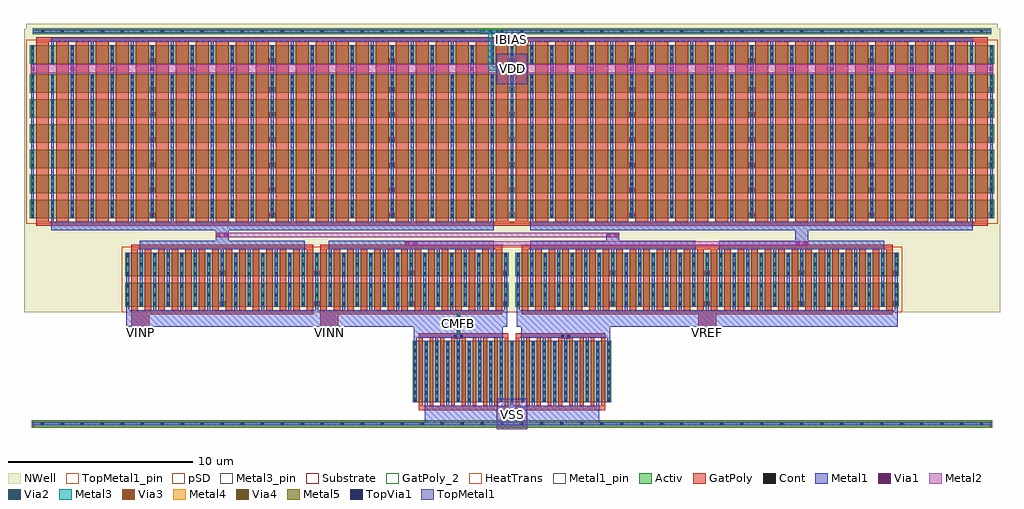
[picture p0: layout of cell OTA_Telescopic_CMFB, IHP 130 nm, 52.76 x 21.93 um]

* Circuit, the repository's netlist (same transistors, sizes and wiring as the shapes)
* Extracted by KLayout with SG13G2 LVS runset on : 01/03/2026 20:40

.SUBCKT OTA_Telescopic_CMFB VSS CMFB VINP VINN VREF VDD IBIAS
M$1 CMFB CMFB VSS VSS sg13_lv_nmos L=0.2u W=29.97u AS=6.1938p AD=5.6943p
+ PS=37.02u PD=33.39u
M$10 VSS \$3 \$3 VSS sg13_lv_nmos L=0.2u W=29.97u AS=5.6943p AD=6.1938p
+ PS=33.39u PD=37.02u
M$19 \$3 VREF \$34 VDD sg13_lv_pmos L=0.35u W=35.98u AS=7.2217p AD=6.8362p
+ PS=49.79u PD=46.62u
M$33 \$3 VREF \$56 VDD sg13_lv_pmos L=0.35u W=35.98u AS=6.8362p AD=7.2217p
+ PS=46.62u PD=49.79u
M$47 CMFB VINP \$34 VDD sg13_lv_pmos L=0.35u W=35.98u AS=7.2217p AD=6.8362p
+ PS=49.79u PD=46.62u
M$61 CMFB VINN \$56 VDD sg13_lv_pmos L=0.35u W=35.98u AS=6.8362p AD=7.2217p
+ PS=46.62u PD=49.79u
M$75 VDD IBIAS \$34 VDD sg13_lv_pmos L=0.7u W=144u AS=28.26p AD=27.36p
+ PS=206.52u PD=198.72u
M$99 VDD IBIAS \$56 VDD sg13_lv_pmos L=0.7u W=144u AS=27.36p AD=28.26p
+ PS=198.72u PD=206.52u
M$419 VDD IBIAS IBIAS VDD sg13_lv_pmos L=0.7u W=48u AS=9.27p AD=9.27p PS=67.54u
+ PD=67.54u
.ENDS OTA_Telescopic_CMFB

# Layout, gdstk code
import gdstk
lib = gdstk.Library(unit=1e-6, precision=1e-09)
def R(c, l, rs):  # rectangles x0, y0, x1, y1
    for r in rs: c.add(gdstk.rectangle(r[:2], r[2:], *l))
def A(c, l, x, y, w, h, nx, ny, dx, dy):  # array of equal rectangles
    R(c, l, [(x+i*dx, y+j*dy, x+i*dx+w, y+j*dy+h) for i in range(nx) for j in range(ny)])
Activ = (1, 0)
GatPoly = (5, 0)
GatPoly_2 = (5, 2)
Cont = (6, 0)
Metal1 = (8, 0)
Metal1_pin = (8, 2)
Metal2 = (10, 0)
pSD = (14, 0)
Via1 = (19, 0)
Via2 = (29, 0)
Metal3 = (30, 0)
Metal3_pin = (30, 2)
NWell = (31, 0)
Substrate = (40, 0)
Via3 = (49, 0)
Metal4 = (50, 0)
HeatTrans = (51, 0)
Via4 = (66, 0)
Metal5 = (67, 0)
TopVia1 = (125, 0)
TopMetal1 = (126, 0)
TopMetal1_pin = (126, 2)

pmos_1 = lib.new_cell('pmos$1')
A(pmos_1, Activ, 0, 0, 0.3, 0.3, 8, 1, 0.73, 0)
R(pmos_1, Activ, [(0,0,5.41,1.285)])
A(pmos_1, GatPoly, 0.34, -0.18, 0.35, 1.645, 7, 1, 0.73, 0)
R(pmos_1, GatPoly, [(0.34,-0.18,0.69,1.465)])
A(pmos_1, Cont, 0.07, 0.07, 0.16, 0.16, 8, 2, 0.73, 0.49)
A(pmos_1, Cont, 0.07, 1.055, 0.16, 0.16, 8, 1, 0.73, 0)
A(pmos_1, Metal1, 0.8, 0, 0.16, 1.285, 7, 1, 0.73, 0)
R(pmos_1, Metal1, [(0.07,0,0.23,1.285), (0.07,0,0.23,1.285), (0.8,0,0.96,1.285)])
R(pmos_1, pSD, [(-0.18,-0.3,5.59,1.585)])
R(pmos_1, NWell, [(-0.31,-0.31,5.72,1.595)])
R(pmos_1, Substrate, [(5.11,0,5.41,0.3)])
A(pmos_1, HeatTrans, 0.34, -0.18, 0.35, 1.645, 7, 1, 0.73, 0)
pmos_1.add(gdstk.Label('pmos', (0.515,0.643), layer=63, texttype=0))
pmos_1.add(gdstk.Label('pmos', (0.515,0.643), layer=51, texttype=0))
pmos_1.add(gdstk.Label('pmos', (1.245,0.643), layer=51, texttype=0))
pmos_1.add(gdstk.Label('pmos', (1.975,0.643), layer=51, texttype=0))
pmos_1.add(gdstk.Label('pmos', (2.705,0.643), layer=51, texttype=0))
pmos_1.add(gdstk.Label('pmos', (3.435,0.643), layer=51, texttype=0))
pmos_1.add(gdstk.Label('pmos', (4.165,0.643), layer=51, texttype=0))
pmos_1.add(gdstk.Label('pmos', (4.895,0.643), layer=51, texttype=0))

nmos = lib.new_cell('nmos')
A(nmos, Activ, 0, 0, 0.3, 0.3, 10, 1, 0.58, 0)
R(nmos, Activ, [(0,0,5.52,3.33)])
A(nmos, GatPoly, 0.34, -0.18, 0.2, 3.69, 9, 1, 0.58, 0)
R(nmos, GatPoly_2, [(0.34,-0.18,0.54,3.51)])
A(nmos, Cont, 0.07, 0.07, 0.16, 0.16, 10, 2, 0.58, 0.375)
A(nmos, Cont, 0.07, 0.825, 0.16, 0.16, 10, 3, 0.58, 0.38)
A(nmos, Cont, 0.07, 1.96, 0.16, 0.16, 10, 4, 0.58, 0.38)
A(nmos, Metal1, 0.07, 0, 0.16, 3.33, 10, 1, 0.58, 0)
R(nmos, Metal1_pin, [(0.07,0,0.23,3.33), (0.65,0,0.81,3.33)])
A(nmos, HeatTrans, 0.34, -0.18, 0.2, 3.69, 9, 1, 0.58, 0)
nmos.add(gdstk.Label('nmos', (0.44,1.665), layer=63, texttype=0))
nmos.add(gdstk.Label('nmos', (0.44,1.665), layer=51, texttype=0))
nmos.add(gdstk.Label('nmos', (1.02,1.665), layer=51, texttype=0))
nmos.add(gdstk.Label('nmos', (1.6,1.665), layer=51, texttype=0))
nmos.add(gdstk.Label('nmos', (2.18,1.665), layer=51, texttype=0))
nmos.add(gdstk.Label('nmos', (2.76,1.665), layer=51, texttype=0))
nmos.add(gdstk.Label('nmos', (3.34,1.665), layer=51, texttype=0))
nmos.add(gdstk.Label('nmos', (3.92,1.665), layer=51, texttype=0))
nmos.add(gdstk.Label('nmos', (4.5,1.665), layer=51, texttype=0))
nmos.add(gdstk.Label('nmos', (5.08,1.665), layer=51, texttype=0))

pmos = lib.new_cell('pmos')
A(pmos, Activ, 0, 0, 0.3, 0.3, 7, 1, 1.08, 0)
R(pmos, Activ, [(0,0,6.78,1)])
A(pmos, GatPoly, 0.34, -0.18, 0.7, 1.36, 6, 1, 1.08, 0)
R(pmos, GatPoly, [(0.34,-0.18,1.04,1.18)])
A(pmos, Cont, 0.07, 0.07, 0.16, 0.16, 7, 3, 1.08, 0.35)
A(pmos, Metal1, 1.15, 0, 0.16, 1, 6, 1, 1.08, 0)
R(pmos, Metal1, [(0.07,0,0.23,1), (0.07,0,0.23,1), (1.15,0,1.31,1)])
R(pmos, pSD, [(-0.18,-0.3,6.96,1.3)])
R(pmos, NWell, [(-0.31,-0.31,7.09,1.31)])
R(pmos, Substrate, [(6.48,0,6.78,0.3)])
A(pmos, HeatTrans, 0.34, -0.18, 0.7, 1.36, 6, 1, 1.08, 0)
pmos.add(gdstk.Label('pmos', (0.69,0.5), layer=63, texttype=0))
pmos.add(gdstk.Label('pmos', (0.69,0.5), layer=51, texttype=0))
pmos.add(gdstk.Label('pmos', (1.77,0.5), layer=51, texttype=0))
pmos.add(gdstk.Label('pmos', (2.85,0.5), layer=51, texttype=0))
pmos.add(gdstk.Label('pmos', (3.93,0.5), layer=51, texttype=0))
pmos.add(gdstk.Label('pmos', (5.01,0.5), layer=51, texttype=0))
pmos.add(gdstk.Label('pmos', (6.09,0.5), layer=51, texttype=0))

m1_bar2 = lib.new_cell('M1_Bar2')
R(m1_bar2, Metal1, [(-0.078,-4.355,0.082,4.805)])

m1_routings2 = lib.new_cell('M1_Routings2')
r = gdstk.Reference(m1_bar2, (-0.007,-0.05)); r.repetition = gdstk.Repetition(25, 1, v1=(2.16,0), v2=(0,0)); m1_routings2.add(r)

m1_bar3 = lib.new_cell('M1_Bar3')
R(m1_bar3, Metal1, [(-0.05,-0.1,0.11,0.08)])

m1_routings3 = lib.new_cell('M1_Routings3')
r = gdstk.Reference(m1_bar3, (0.025,-0.245)); r.repetition = gdstk.Repetition(24, 1, v1=(2.16,0), v2=(0,0)); m1_routings3.add(r)

m1_routings6 = lib.new_cell('M1_Routings6')
r = gdstk.Reference(m1_bar3, (-0.035,0.04)); r.repetition = gdstk.Repetition(5, 1, v1=(1.16,0), v2=(0,0)); m1_routings6.add(r)

poly_bar1 = lib.new_cell('Poly_Bar1')
R(poly_bar1, GatPoly, [(-0.368,-0.085,0.332,0.125)])

poly_routings1 = lib.new_cell('Poly_Routings1')
r = gdstk.Reference(poly_bar1, (0,0)); r.repetition = gdstk.Repetition(48, 1, v1=(1.08,0), v2=(0,0)); poly_routings1.add(r)

m1_bar1 = lib.new_cell('M1_Bar1')
R(m1_bar1, Metal1, [(-0.078,-3.765,0.082,4.215)])

m1_routings1 = lib.new_cell('M1_Routings1')
r = gdstk.Reference(m1_bar1, (0,-0.155)); r.repetition = gdstk.Repetition(12, 1, v1=(2.16,0), v2=(0,0)); m1_routings1.add(r)

m1_cont1_pmos = lib.new_cell('M1_Cont1_PMOS')
R(m1_cont1_pmos, Activ, [(-0.535,-0.175,0.545,0.165)])
R(m1_cont1_pmos, Cont, [(-0.075,-0.085,0.085,0.075)])
R(m1_cont1_pmos, Metal1, [(-0.535,-0.085,0.545,0.075)])
R(m1_cont1_pmos, Metal1_pin, [(-0.535,-0.085,0.545,0.075)])
R(m1_cont1_pmos, NWell, [(-0.875,-0.415,0.885,0.405)])

m1_bulkcont1_pmos = lib.new_cell('M1_BulkCont1_PMOS')
r = gdstk.Reference(m1_cont1_pmos, (-0.015,-0.015)); r.repetition = gdstk.Repetition(48, 1, v1=(1.08,0), v2=(0,0)); m1_bulkcont1_pmos.add(r)

m1_bar4 = lib.new_cell('M1_Bar4')
R(m1_bar4, Metal1, [(-0.073,-1.5,0.087,1.61)])

m1_routings5 = lib.new_cell('M1_Routings5')
r = gdstk.Reference(m1_bar4, (0,0.01)); r.repetition = gdstk.Repetition(7, 1, v1=(1.46,0), v2=(0,0)); m1_routings5.add(r)

m1_routings4 = lib.new_cell('M1_Routings4')
r = gdstk.Reference(m1_bar4, (0,0.02)); r.repetition = gdstk.Repetition(8, 1, v1=(1.46,0), v2=(0,0)); m1_routings4.add(r)

via_vdd_unit = lib.new_cell('via_vdd_unit')
R(via_vdd_unit, Metal1, [(-0.105,-0.14,0.105,0.15)])
R(via_vdd_unit, Metal2, [(-0.1,-0.14,0.1,0.15)])
R(via_vdd_unit, Via1, [(-0.095,-0.09,0.095,0.1)])

via_vdd = lib.new_cell('via_vdd')
r = gdstk.Reference(via_vdd_unit, (0,0)); r.repetition = gdstk.Repetition(25, 1, v1=(2.16,0), v2=(0,0)); via_vdd.add(r)

m1_cont1_nmos = lib.new_cell('M1_Cont1_NMOS')
R(m1_cont1_nmos, Activ, [(-0.53,-0.175,0.55,0.165)])
R(m1_cont1_nmos, Cont, [(-0.07,-0.085,0.09,0.075)])
R(m1_cont1_nmos, Metal1, [(-0.53,-0.085,0.55,0.075)])
R(m1_cont1_nmos, Metal1_pin, [(-0.53,-0.085,0.55,0.075)])
R(m1_cont1_nmos, pSD, [(-0.56,-0.205,0.58,0.195)])

m1_bulkcont1_nmos = lib.new_cell('M1_BulkCont1_NMOS')
r = gdstk.Reference(m1_cont1_nmos, (0.005,0.01)); r.repetition = gdstk.Repetition(48, 1, v1=(1.08,0), v2=(0,0)); m1_bulkcont1_nmos.add(r)

ota_telescopic_cmfb = lib.new_cell('OTA_Telescopic_CMFB')
R(ota_telescopic_cmfb, GatPoly, [(29.15,-0.41,33.99,-0.18), (34.37,-0.41,39.21,-0.18), (30.96,3.44,31.6,3.74), (36.76,3.44,37.4,3.74), (29.15,3.51,33.99,3.74), (34.37,3.51,39.21,3.74), (13.6,3.62,14.58,3.92), (23.82,3.62,24.8,3.92), (44.24,3.62,45.22,3.92), (13.6,3.92,14.58,4.765), (23.82,3.92,24.8,4.765), (44.24,3.92,45.22,4.765), (13.6,4.765,23.44,4.995), (23.82,4.765,33.66,4.995), (34.7,4.765,54.76,4.995), (13.6,8.285,23.44,8.515), (23.82,8.285,33.66,8.515), (34.7,8.285,54.76,8.515), (8.45,9.54,59.91,9.77), (33.69,19.455,34.67,19.755), (8.45,19.5,33.86,19.755), (34.5,19.5,59.91,19.755)])
A(ota_telescopic_cmfb, Cont, 13.67, 3.69, 0.16, 0.16, 3, 1, 0.34, 0)
A(ota_telescopic_cmfb, Cont, 23.89, 3.69, 0.16, 0.16, 3, 1, 0.34, 0)
A(ota_telescopic_cmfb, Cont, 44.31, 3.69, 0.16, 0.16, 3, 1, 0.34, 0)
A(ota_telescopic_cmfb, Cont, 33.76, 19.525, 0.16, 0.16, 3, 1, 0.34, 0)
R(ota_telescopic_cmfb, Cont, [(31.03,3.51,31.19,3.67), (31.37,3.51,31.53,3.67), (36.83,3.51,36.99,3.67), (37.17,3.51,37.33,3.67)])
R(ota_telescopic_cmfb, Metal1, [(29.46,-1.08,38.9,-0.18), (33.83,-0.94,34.53,-0.32), (28.88,3.51,33.68,4.095), (30.98,3.51,31.58,3.67), (34.68,3.51,39.48,4.095), (36.78,3.51,37.38,3.67), (13.535,3.665,14.645,3.875), (23.755,3.665,24.865,3.875), (44.175,3.665,45.285,3.875), (31.175,3.7,31.385,4.81), (13.33,4.095,33.93,4.995), (34.43,4.095,55.03,4.995), (14.06,8.285,22.98,8.735), (24.28,8.285,33.2,8.735), (35.16,8.285,44.08,8.735), (45.38,8.285,54.3,8.735), (28.39,8.47,29.09,8.68), (49.49,8.47,50.19,8.68), (18.17,8.735,18.87,9.32), (39.27,8.735,39.97,9.14), (49.49,8.735,50.19,9.32), (18.17,8.93,18.87,9.14), (39.27,8.93,39.97,9.14), (9.26,9.32,33.18,9.77), (35.18,9.32,59.1,9.77), (9.26,19.5,59.1,19.71), (33.625,19.5,34.735,19.71), (32.45,19.935,33.56,20.145)])
R(ota_telescopic_cmfb, Metal2, [(33.83,-0.935,34.53,-0.325), (13.535,3.67,14.645,3.87), (23.755,3.67,24.865,3.87), (44.175,3.67,45.285,3.87), (31.18,3.7,31.38,4.81), (28.39,8.475,50.19,8.725), (28.39,8.475,29.09,8.675), (49.49,8.475,50.19,8.675), (18.17,8.935,39.97,9.185), (18.17,8.935,18.87,9.135), (39.27,8.935,39.97,9.135), (33.83,17.73,34.53,18.34), (8.16,17.785,60.2,18.285), (33.625,19.505,34.735,19.705), (32.45,19.94,33.56,20.14)])
A(ota_telescopic_cmfb, Via1, 13.585, 3.675, 0.19, 0.19, 3, 1, 0.41, 0)
A(ota_telescopic_cmfb, Via1, 23.805, 3.675, 0.19, 0.19, 3, 1, 0.41, 0)
A(ota_telescopic_cmfb, Via1, 44.225, 3.675, 0.19, 0.19, 3, 1, 0.41, 0)
A(ota_telescopic_cmfb, Via1, 31.185, 3.75, 0.19, 0.19, 1, 3, 0, 0.41)
A(ota_telescopic_cmfb, Via1, 33.675, 19.51, 0.19, 0.19, 3, 1, 0.41, 0)
A(ota_telescopic_cmfb, Via1, 32.5, 19.945, 0.19, 0.19, 3, 1, 0.41, 0)
R(ota_telescopic_cmfb, Via1, [(33.88,-0.93,34.07,-0.74), (34.29,-0.93,34.48,-0.74), (33.88,-0.52,34.07,-0.33), (34.29,-0.52,34.48,-0.33), (28.44,8.48,28.63,8.67), (28.85,8.48,29.04,8.67), (49.54,8.48,49.73,8.67), (49.95,8.48,50.14,8.67), (18.22,8.94,18.41,9.13), (18.63,8.94,18.82,9.13), (39.32,8.94,39.51,9.13), (39.73,8.94,39.92,9.13)])
A(ota_telescopic_cmfb, Via2, 13.585, 3.675, 0.19, 0.19, 3, 1, 0.41, 0)
A(ota_telescopic_cmfb, Via2, 23.805, 3.675, 0.19, 0.19, 3, 1, 0.41, 0)
A(ota_telescopic_cmfb, Via2, 44.225, 3.675, 0.19, 0.19, 3, 1, 0.41, 0)
A(ota_telescopic_cmfb, Via2, 31.185, 3.75, 0.19, 0.19, 1, 3, 0, 0.41)
A(ota_telescopic_cmfb, Via2, 33.675, 19.51, 0.19, 0.19, 3, 1, 0.41, 0)
A(ota_telescopic_cmfb, Via2, 32.5, 19.945, 0.19, 0.19, 3, 1, 0.41, 0)
R(ota_telescopic_cmfb, Via2, [(33.88,-0.93,34.07,-0.74), (34.29,-0.93,34.48,-0.74), (33.88,-0.52,34.07,-0.33), (34.29,-0.52,34.48,-0.33), (33.88,17.735,34.07,17.925), (34.29,17.735,34.48,17.925), (33.88,18.145,34.07,18.335), (34.29,18.145,34.48,18.335)])
R(ota_telescopic_cmfb, Metal3, [(33.83,-0.935,34.53,-0.325), (33.83,-0.935,34.53,-0.325), (13.535,3.67,14.645,3.87), (23.755,3.67,24.865,3.87), (44.175,3.67,45.285,3.87), (31.18,3.7,31.38,4.81), (33.83,17.73,34.53,18.34), (33.83,17.73,34.53,18.34), (32.905,17.935,33.83,18.135), (32.905,17.935,33.105,19.94), (33.625,19.505,34.735,19.705), (32.45,19.94,33.56,20.14)])
R(ota_telescopic_cmfb, Metal3_pin, [(13.535,3.67,14.645,3.87), (23.755,3.67,24.865,3.87), (44.175,3.67,45.285,3.87), (31.18,3.7,31.38,4.81), (33.625,19.505,34.735,19.705)])
R(ota_telescopic_cmfb, NWell, [(7.8,4.865,12.95,9.64), (55.41,4.865,60.56,9.64), (12.95,8.415,55.41,9.64), (7.8,19.63,60.56,20.19)])
R(ota_telescopic_cmfb, Via3, [(33.88,-0.93,34.07,-0.74), (34.29,-0.93,34.48,-0.74), (33.88,-0.52,34.07,-0.33), (34.29,-0.52,34.48,-0.33), (33.88,17.735,34.07,17.925), (34.29,17.735,34.48,17.925), (33.88,18.145,34.07,18.335), (34.29,18.145,34.48,18.335)])
R(ota_telescopic_cmfb, Metal4, [(33.83,-0.935,34.53,-0.325), (33.83,17.73,34.53,18.34)])
R(ota_telescopic_cmfb, Via4, [(33.88,-0.93,34.07,-0.74), (34.29,-0.93,34.48,-0.74), (33.88,-0.52,34.07,-0.33), (34.29,-0.52,34.48,-0.33), (33.88,17.735,34.07,17.925), (34.29,17.735,34.48,17.925), (33.88,18.145,34.07,18.335), (34.29,18.145,34.48,18.335)])
R(ota_telescopic_cmfb, Metal5, [(33.83,-0.94,34.53,-0.32), (33.83,17.725,34.53,18.345)])
R(ota_telescopic_cmfb, TopVia1, [(33.97,-0.84,34.39,-0.42), (33.97,17.825,34.39,18.245)])
R(ota_telescopic_cmfb, TopMetal1, [(33.36,-1.45,35,0.19), (33.36,17.215,35,18.855)])
R(ota_telescopic_cmfb, TopMetal1_pin, [(33.36,-1.45,35,0.19), (33.36,17.215,35,18.855)])
ota_telescopic_cmfb.add(gdstk.Reference(pmos_1, (28.59,5.175)))
ota_telescopic_cmfb.add(gdstk.Reference(nmos, (28.81,0)))
ota_telescopic_cmfb.add(gdstk.Reference(nmos, (34.03,0)))
ota_telescopic_cmfb.add(gdstk.Reference(pmos_1, (34.36,6.82)))
ota_telescopic_cmfb.add(gdstk.Reference(pmos_1, (28.59,6.82)))
ota_telescopic_cmfb.add(gdstk.Reference(pmos_1, (34.36,5.175)))
ota_telescopic_cmfb.add(gdstk.Reference(pmos, (34.03,9.95)))
ota_telescopic_cmfb.add(gdstk.Reference(pmos, (34.03,12.67)))
ota_telescopic_cmfb.add(gdstk.Reference(pmos, (34.03,15.39)))
ota_telescopic_cmfb.add(gdstk.Reference(pmos, (34.03,11.31)))
ota_telescopic_cmfb.add(gdstk.Reference(pmos, (34.03,14.03)))
ota_telescopic_cmfb.add(gdstk.Reference(pmos, (34.03,16.75)))
ota_telescopic_cmfb.add(gdstk.Reference(pmos, (27.55,15.39)))
ota_telescopic_cmfb.add(gdstk.Reference(pmos, (27.55,9.95)))
ota_telescopic_cmfb.add(gdstk.Reference(pmos, (27.55,12.67)))
ota_telescopic_cmfb.add(gdstk.Reference(pmos, (27.55,16.75)))
ota_telescopic_cmfb.add(gdstk.Reference(pmos, (27.55,11.31)))
ota_telescopic_cmfb.add(gdstk.Reference(pmos, (27.55,14.03)))
ota_telescopic_cmfb.add(gdstk.Reference(m1_routings2, (8.265,14.355)))
ota_telescopic_cmfb.add(gdstk.Reference(pmos, (27.55,18.32)))
ota_telescopic_cmfb.add(gdstk.Reference(pmos, (34.03,18.32)))
ota_telescopic_cmfb.add(gdstk.Reference(m1_routings3, (9.285,19.665)))
ota_telescopic_cmfb.add(gdstk.Reference(m1_routings6, (29.545,-0.12)))
ota_telescopic_cmfb.add(gdstk.Reference(m1_routings6, (34.185,-0.12)))
ota_telescopic_cmfb.add(gdstk.Reference(poly_routings1, (8.818,18.015)))
ota_telescopic_cmfb.add(gdstk.Reference(pmos, (46.99,9.95)))
ota_telescopic_cmfb.add(gdstk.Reference(pmos, (53.47,9.95)))
ota_telescopic_cmfb.add(gdstk.Reference(pmos, (40.51,9.95)))
ota_telescopic_cmfb.add(gdstk.Reference(pmos, (14.59,9.95)))
ota_telescopic_cmfb.add(gdstk.Reference(pmos, (8.11,9.95)))
ota_telescopic_cmfb.add(gdstk.Reference(pmos, (21.07,9.95)))
ota_telescopic_cmfb.add(gdstk.Reference(m1_routings1, (35.258,13.69)))
ota_telescopic_cmfb.add(gdstk.Reference(m1_routings1, (9.338,13.69)))
ota_telescopic_cmfb.add(gdstk.Reference(m1_bulkcont1_pmos, (8.81,20.085)))
ota_telescopic_cmfb.add(gdstk.Reference(pmos, (46.99,18.32)))
ota_telescopic_cmfb.add(gdstk.Reference(pmos, (40.51,15.39)))
ota_telescopic_cmfb.add(gdstk.Reference(pmos, (46.99,15.39)))
ota_telescopic_cmfb.add(gdstk.Reference(pmos, (53.47,15.39)))
ota_telescopic_cmfb.add(gdstk.Reference(pmos, (40.51,12.67)))
ota_telescopic_cmfb.add(gdstk.Reference(pmos, (46.99,12.67)))
ota_telescopic_cmfb.add(gdstk.Reference(pmos, (53.47,12.67)))
ota_telescopic_cmfb.add(gdstk.Reference(pmos, (46.99,16.75)))
ota_telescopic_cmfb.add(gdstk.Reference(pmos, (53.47,16.75)))
ota_telescopic_cmfb.add(gdstk.Reference(pmos, (40.51,14.03)))
ota_telescopic_cmfb.add(gdstk.Reference(pmos, (46.99,14.03)))
ota_telescopic_cmfb.add(gdstk.Reference(pmos, (53.47,14.03)))
ota_telescopic_cmfb.add(gdstk.Reference(pmos, (40.51,11.31)))
ota_telescopic_cmfb.add(gdstk.Reference(pmos, (40.51,16.75)))
ota_telescopic_cmfb.add(gdstk.Reference(pmos, (46.99,11.31)))
ota_telescopic_cmfb.add(gdstk.Reference(pmos, (40.51,18.32)))
ota_telescopic_cmfb.add(gdstk.Reference(pmos, (53.47,11.31)))
ota_telescopic_cmfb.add(gdstk.Reference(pmos, (53.47,18.32)))
ota_telescopic_cmfb.add(gdstk.Reference(pmos, (14.59,18.32)))
ota_telescopic_cmfb.add(gdstk.Reference(pmos, (21.07,12.67)))
ota_telescopic_cmfb.add(gdstk.Reference(pmos, (14.59,12.67)))
ota_telescopic_cmfb.add(gdstk.Reference(pmos, (8.11,12.67)))
ota_telescopic_cmfb.add(gdstk.Reference(pmos, (8.11,15.39)))
ota_telescopic_cmfb.add(gdstk.Reference(pmos, (21.07,16.75)))
ota_telescopic_cmfb.add(gdstk.Reference(pmos, (14.59,16.75)))
ota_telescopic_cmfb.add(gdstk.Reference(pmos, (21.07,15.39)))
ota_telescopic_cmfb.add(gdstk.Reference(pmos, (21.07,11.31)))
ota_telescopic_cmfb.add(gdstk.Reference(pmos, (8.11,16.75)))
ota_telescopic_cmfb.add(gdstk.Reference(pmos, (14.59,11.31)))
ota_telescopic_cmfb.add(gdstk.Reference(pmos, (8.11,11.31)))
ota_telescopic_cmfb.add(gdstk.Reference(pmos, (21.07,14.03)))
ota_telescopic_cmfb.add(gdstk.Reference(pmos, (14.59,14.03)))
ota_telescopic_cmfb.add(gdstk.Reference(pmos, (8.11,14.03)))
ota_telescopic_cmfb.add(gdstk.Reference(pmos, (21.07,18.32)))
ota_telescopic_cmfb.add(gdstk.Reference(pmos, (14.59,15.39)))
ota_telescopic_cmfb.add(gdstk.Reference(pmos, (8.11,18.32)))
ota_telescopic_cmfb.add(gdstk.Reference(m1_routings5, (24.353,6.665)))
ota_telescopic_cmfb.add(gdstk.Reference(m1_routings4, (13.403,6.475)))
ota_telescopic_cmfb.add(gdstk.Reference(m1_routings5, (14.133,6.665)))
ota_telescopic_cmfb.add(gdstk.Reference(pmos_1, (23.48,5.175)))
ota_telescopic_cmfb.add(gdstk.Reference(m1_routings6, (28.965,3.39)))
ota_telescopic_cmfb.add(gdstk.Reference(pmos_1, (23.48,6.82)))
ota_telescopic_cmfb.add(gdstk.Reference(pmos_1, (13.26,5.175)))
ota_telescopic_cmfb.add(gdstk.Reference(pmos_1, (18.37,5.175)))
ota_telescopic_cmfb.add(gdstk.Reference(pmos_1, (13.26,6.82)))
ota_telescopic_cmfb.add(gdstk.Reference(pmos_1, (18.37,6.82)))
ota_telescopic_cmfb.add(gdstk.Reference(m1_routings4, (23.623,6.475)))
ota_telescopic_cmfb.add(gdstk.Reference(pmos_1, (39.47,5.175)))
ota_telescopic_cmfb.add(gdstk.Reference(pmos_1, (49.69,5.175)))
ota_telescopic_cmfb.add(gdstk.Reference(pmos_1, (44.58,5.175)))
ota_telescopic_cmfb.add(gdstk.Reference(m1_routings4, (44.723,6.475)))
ota_telescopic_cmfb.add(gdstk.Reference(m1_routings5, (45.453,6.665)))
ota_telescopic_cmfb.add(gdstk.Reference(m1_routings4, (34.503,6.475)))
ota_telescopic_cmfb.add(gdstk.Reference(m1_routings5, (35.233,6.665)))
ota_telescopic_cmfb.add(gdstk.Reference(m1_routings6, (34.765,3.39)))
ota_telescopic_cmfb.add(gdstk.Reference(pmos_1, (49.69,6.82)))
ota_telescopic_cmfb.add(gdstk.Reference(pmos_1, (44.58,6.82)))
ota_telescopic_cmfb.add(gdstk.Reference(pmos_1, (39.47,6.82)))
ota_telescopic_cmfb.add(gdstk.Reference(via_vdd, (8.26,18.03)))
ota_telescopic_cmfb.add(gdstk.Reference(m1_bulkcont1_nmos, (8.785,-1.165)))
ota_telescopic_cmfb.add(gdstk.Label('VINN', (24.305,3.76), layer=30, texttype=25))
ota_telescopic_cmfb.add(gdstk.Label('VREF', (44.733,3.763), layer=30, texttype=25))
ota_telescopic_cmfb.add(gdstk.Label('VINP', (14.089,3.769), layer=30, texttype=25))
ota_telescopic_cmfb.add(gdstk.Label('IBIAS', (34.174,19.609), layer=30, texttype=25))
ota_telescopic_cmfb.add(gdstk.Label('CMFB', (31.278,4.243), layer=30, texttype=25))
ota_telescopic_cmfb.add(gdstk.Label('VDD', (34.18,18.035), layer=126, texttype=25))
ota_telescopic_cmfb.add(gdstk.Label('VSS', (34.18,-0.63), layer=126, texttype=25))

lib.write_gds('OTA_Telescopic_CMFB.gds')
